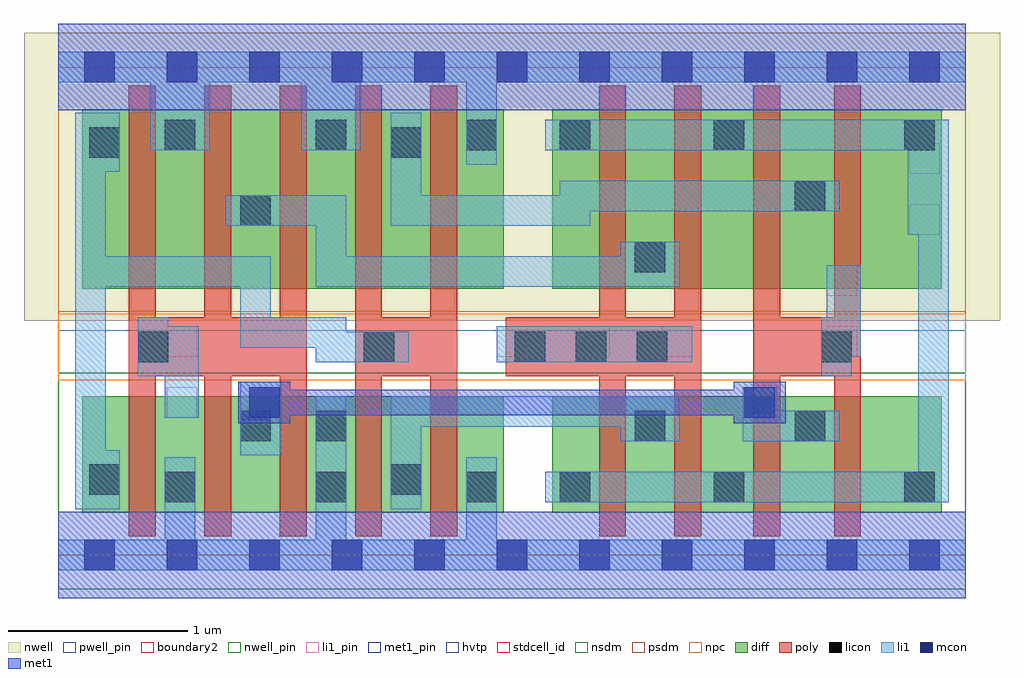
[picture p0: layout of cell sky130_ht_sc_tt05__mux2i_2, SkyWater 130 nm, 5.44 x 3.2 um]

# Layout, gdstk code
import gdstk
lib = gdstk.Library(unit=1e-6, precision=1e-09)
def R(c, l, rs):  # rectangles x0, y0, x1, y1
    for r in rs: c.add(gdstk.rectangle(r[:2], r[2:], *l))
def A(c, l, x, y, w, h, nx, ny, dx, dy):  # array of equal rectangles
    R(c, l, [(x+i*dx, y+j*dy, x+i*dx+w, y+j*dy+h) for i in range(nx) for j in range(ny)])
def P(c, l, *ps):  # polygons
    for p in ps: c.add(gdstk.Polygon(p, *l))
nwell_pin = (64, 16)
nwell = (64, 20)
diff = (65, 20)
poly = (66, 20)
licon = (66, 44)
li1_pin = (67, 16)
li1 = (67, 20)
mcon = (67, 44)
met1_pin = (68, 16)
met1 = (68, 20)
hvtp = (78, 44)
stdcell_id = (81, 4)
nsdm = (93, 44)
psdm = (94, 20)
npc = (95, 20)
pwell_pin = (122, 16)
boundary2 = (236, 0)

sky130_ht_sc_tt05__mux2i = lib.new_cell('sky130_ht_sc_tt05__mux2i_2')
R(sky130_ht_sc_tt05__mux2i, nwell_pin, [(0.145,2.635,0.315,2.805)])
R(sky130_ht_sc_tt05__mux2i, nwell, [(-0.19,1.305,5.25,2.91)])
R(sky130_ht_sc_tt05__mux2i, diff, [(0.135,0.235,2.485,0.885), (2.755,0.235,4.925,0.885), (0.135,1.485,2.485,2.485), (2.755,1.485,4.925,2.485)])
P(sky130_ht_sc_tt05__mux2i, poly, [(3.165,0.995),(3.435,0.995),(3.435,0.105),(3.585,0.105),(3.585,2.615),(3.435,2.615),(3.435,1.325),(3.165,1.325),(3.165,2.615),(3.015,2.615),(3.015,1.325),(2.495,1.325),(2.495,0.995),(3.015,0.995),(3.015,0.105),(3.165,0.105)],
  [(0.545,0.995),(0.815,0.995),(0.815,0.105),(0.965,0.105),(0.965,0.995),(1.235,0.995),(1.235,0.105),(1.385,0.105),(1.385,2.615),(1.235,2.615),(1.235,1.325),(0.965,1.325),(0.965,2.615),(0.815,2.615),(0.815,1.325),(0.545,1.325),(0.545,2.615),(0.395,2.615),(0.395,0.105),(0.545,0.105)],
  [(1.805,0.995),(2.075,0.995),(2.075,0.105),(2.225,0.105),(2.225,2.615),(2.075,2.615),(2.075,1.325),(1.805,1.325),(1.805,2.615),(1.655,2.615),(1.655,0.105),(1.805,0.105)],
  [(4.025,0.995),(4.325,0.995),(4.325,0.105),(4.475,0.105),(4.475,2.615),(4.325,2.615),(4.325,1.325),(4.025,1.325),(4.025,2.615),(3.875,2.615),(3.875,0.105),(4.025,0.105)])
A(sky130_ht_sc_tt05__mux2i, licon, 0.595, 0.295, 0.17, 0.17, 3, 2, 0.84, 1.96)
A(sky130_ht_sc_tt05__mux2i, licon, 2.545, 1.075, 0.17, 0.17, 3, 1, 0.34, 0)
R(sky130_ht_sc_tt05__mux2i, licon, [(2.795,0.295,2.965,0.465), (3.655,0.295,3.825,0.465), (4.715,0.295,4.885,0.465), (0.175,0.335,0.345,0.505), (1.855,0.335,2.025,0.505), (1.015,0.635,1.185,0.805), (1.435,0.635,1.605,0.805), (3.215,0.635,3.385,0.805), (4.105,0.635,4.275,0.805), (0.445,1.075,0.615,1.245), (1.705,1.075,1.875,1.245), (4.255,1.075,4.425,1.245), (3.215,1.575,3.385,1.745), (1.015,1.835,1.185,2.005), (4.105,1.915,4.275,2.085), (0.175,2.215,0.345,2.385), (1.855,2.215,2.025,2.385), (2.795,2.255,2.965,2.425), (3.655,2.255,3.825,2.425), (4.715,2.255,4.885,2.425)])
A(sky130_ht_sc_tt05__mux2i, li1_pin, 2.445, 1.105, 0.17, 0.17, 3, 1, 0.46, 0)
R(sky130_ht_sc_tt05__mux2i, li1_pin, [(0.605,0.765,0.775,0.935), (0.605,1.105,0.775,1.275), (4.285,1.105,4.455,1.275), (4.285,1.445,4.455,1.615), (4.745,1.785,4.915,1.955), (4.745,2.125,4.915,2.295)])
R(sky130_ht_sc_tt05__mux2i, li1, [(1.015,0.555,1.245,0.965), (2.445,1.075,3.535,1.275)])
P(sky130_ht_sc_tt05__mux2i, li1, [(2.445,2.635),(5.06,2.635),(5.06,2.805),(0,2.805),(0,2.635),(0.515,2.635),(0.515,2.255),(0.845,2.255),(0.845,2.635),(1.355,2.635),(1.355,2.255),(1.685,2.255),(1.685,2.635),(2.275,2.635),(2.275,2.175),(2.445,2.175)],
  [(2.965,1.915),(4.355,1.915),(4.355,2.085),(2.795,2.085),(2.795,2.005),(2.025,2.005),(2.025,2.465),(1.855,2.465),(1.855,1.835),(2.965,1.835)],
  [(0.345,0.585),(0.265,0.585),(0.265,1.495),(1.015,1.495),(1.015,1.155),(1.435,1.155),(1.435,1.075),(1.955,1.075),(1.955,1.245),(1.605,1.245),(1.605,1.325),(1.185,1.325),(1.185,1.665),(0.265,1.665),(0.265,2.135),(0.345,2.135),(0.345,2.465),(0.095,2.465),(0.095,0.255),(0.345,0.255)],
  [(2.715,2.425),(2.715,2.255),(4.735,2.255),(4.735,1.785),(4.795,1.785),(4.795,0.465),(2.715,0.465),(2.715,0.295),(4.965,0.295),(4.965,2.425)],
  [(3.465,1.745),(3.135,1.745),(3.135,1.665),(1.605,1.665),(1.605,2.005),(0.935,2.005),(0.935,1.835),(1.435,1.835),(1.435,1.495),(3.465,1.495)],
  [(4.425,1.105),(4.475,1.105),(4.475,1.615),(4.285,1.615),(4.285,1.325),(4.255,1.325),(4.255,0.995),(4.425,0.995)],
  [(0.785,1.275),(0.615,1.275),(0.615,1.325),(0.445,1.325),(0.445,0.995),(0.595,0.995),(0.595,0.765),(0.785,0.765)],
  [(4.355,0.805),(4.005,0.805),(4.005,0.935),(3.815,0.935),(3.815,0.635),(4.355,0.635)],
  [(2.025,0.715),(3.135,0.715),(3.135,0.635),(3.465,0.635),(3.465,0.885),(1.855,0.885),(1.855,0.255),(2.025,0.255)],
  [(5.06,0.085),(2.445,0.085),(2.445,0.545),(2.275,0.545),(2.275,0.085),(1.605,0.085),(1.605,0.885),(1.435,0.885),(1.435,0.085),(0.765,0.085),(0.765,0.545),(0.595,0.545),(0.595,0.085),(0,0.085),(0,-0.085),(5.06,-0.085)])
A(sky130_ht_sc_tt05__mux2i, mcon, 0.145, -0.085, 0.17, 0.17, 11, 2, 0.46, 2.72)
R(sky130_ht_sc_tt05__mux2i, mcon, [(1.065,0.765,1.235,0.935), (3.825,0.765,3.995,0.935)])
R(sky130_ht_sc_tt05__mux2i, met1_pin, [(0.145,-0.085,0.315,0.085), (0.145,2.635,0.315,2.805)])
P(sky130_ht_sc_tt05__mux2i, met1, [(3.765,0.965),(3.765,0.92),(1.295,0.92),(1.295,0.965),(1.005,0.965),(1.005,0.735),(1.295,0.735),(1.295,0.78),(3.765,0.78),(3.765,0.735),(4.055,0.735),(4.055,0.965)])
R(sky130_ht_sc_tt05__mux2i, hvtp, [(0,1.25,5.06,2.72)])
R(sky130_ht_sc_tt05__mux2i, stdcell_id, [(0,0,5.06,2.72)])
R(sky130_ht_sc_tt05__mux2i, nsdm, [(0,-0.19,5.06,1.015)])
R(sky130_ht_sc_tt05__mux2i, psdm, [(0,1.355,5.06,2.91)])
R(sky130_ht_sc_tt05__mux2i, npc, [(0,0.975,5.06,1.345)])
R(sky130_ht_sc_tt05__mux2i, pwell_pin, [(0.145,-0.085,0.315,0.085)])
R(sky130_ht_sc_tt05__mux2i, boundary2, [(0,0,5.06,2.72)])
sky130_ht_sc_tt05__mux2i.add(gdstk.FlexPath([(0,0),(5.06,0)], 0.48, ends="flush", simple_path=True, layer=68, datatype=20))  # met1
sky130_ht_sc_tt05__mux2i.add(gdstk.FlexPath([(0,2.72),(5.06,2.72)], 0.48, ends="flush", simple_path=True, layer=68, datatype=20))  # met1

lib.write_gds('sky130_ht_sc_tt05__mux2i_2.gds')
